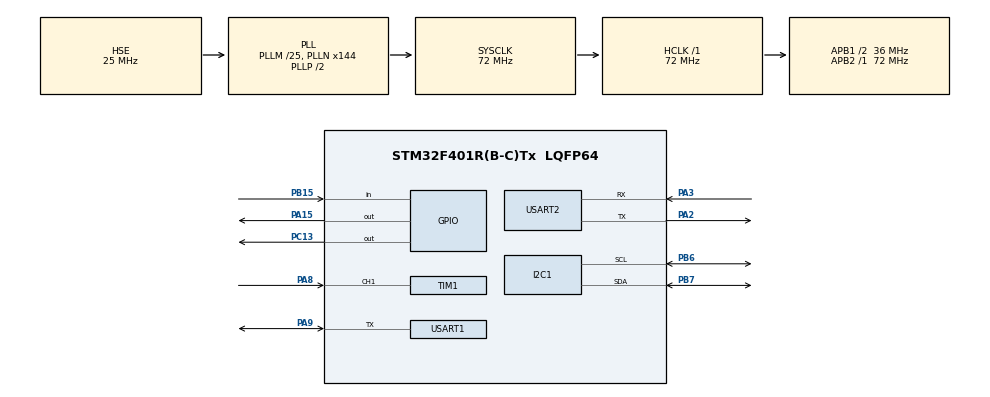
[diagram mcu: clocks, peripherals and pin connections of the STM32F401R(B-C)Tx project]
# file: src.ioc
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Dma.Request0=USART1_RX
Dma.Request1=USART1_TX
Dma.USART1_RX.0.Direction=DMA_PERIPH_TO_MEMORY
Dma.USART1_RX.0.FIFOMode=DMA_FIFOMODE_DISABLE
Dma.USART1_RX.0.Instance=DMA2_Stream2
Dma.USART1_RX.0.MemDataAlignment=DMA_MDATAALIGN_BYTE
Dma.USART1_RX.0.MemInc=DMA_MINC_ENABLE
Dma.USART1_RX.0.Mode=DMA_NORMAL
Dma.USART1_RX.0.PeriphDataAlignment=DMA_PDATAALIGN_BYTE
Dma.USART1_RX.0.PeriphInc=DMA_PINC_DISABLE
Dma.USART1_RX.0.Priority=DMA_PRIORITY_LOW
Dma.USART1_TX.1.Direction=DMA_MEMORY_TO_PERIPH
Dma.USART1_TX.1.FIFOMode=DMA_FIFOMODE_DISABLE
Dma.USART1_TX.1.Instance=DMA2_Stream7
Dma.USART1_TX.1.MemDataAlignment=DMA_MDATAALIGN_BYTE
Dma.USART1_TX.1.MemInc=DMA_MINC_ENABLE
Dma.USART1_TX.1.Mode=DMA_NORMAL
Dma.USART1_TX.1.PeriphDataAlignment=DMA_PDATAALIGN_BYTE
Dma.USART1_TX.1.PeriphInc=DMA_PINC_DISABLE
Dma.USART1_TX.1.Priority=DMA_PRIORITY_LOW
FREERTOS.Tasks01=defaultTask,0,128,StartDefaultTask,Default,NULL,Dynamic,NULL,NULL;TEMP,-3,128,TEMP_init,Default,NULL,Dynamic,NULL,NULL;DIST,0,128,DIST_init,Default,NULL,Dynamic,NULL,NULL;COMM,0,128,COMM_init,Default,NULL,Dynamic,NULL,NULL
FREERTOS.configUSE_NEWLIB_REENTRANT=1
Mcu.Family=STM32F4
Mcu.Name=STM32F401R(B-C)Tx
Mcu.Package=LQFP64
NVIC.DMA2_Stream2_IRQn=true\:5\:0\:false\:false\:true\:true\:false\:true\:true
NVIC.DMA2_Stream7_IRQn=true\:5\:0\:false\:false\:true\:true\:false\:true\:true
NVIC.PriorityGroup=NVIC_PRIORITYGROUP_4
NVIC.TIM1_CC_IRQn=true\:5\:0\:false\:false\:true\:true\:true\:true\:true
NVIC.TIM2_IRQn=true\:15\:0\:false\:false\:true\:false\:false\:true\:true
NVIC.TimeBase=TIM2_IRQn
NVIC.TimeBaseIP=TIM2
NVIC.USART1_IRQn=true\:5\:0\:false\:false\:true\:true\:true\:true\:true
PA15.Signal=GPIO_Output
PA2.Mode=Asynchronous
PA2.Signal=USART2_TX
PA3.Mode=Asynchronous
PA3.Signal=USART2_RX
PA8.Signal=S_TIM1_CH1
PA9.Mode=Half_duplex(single_wire_mode)
PA9.Signal=USART1_TX
PB15.Signal=GPIO_Input
PB6.Mode=I2C
PB6.Signal=I2C1_SCL
PB7.Mode=I2C
PB7.Signal=I2C1_SDA
PC13-ANTI_TAMP.Signal=GPIO_Output
PH0\ -\ OSC_IN.Mode=HSE-External-Oscillator
PH0\ -\ OSC_IN.Signal=RCC_OSC_IN
PH1\ -\ OSC_OUT.Mode=HSE-External-Oscillator
PH1\ -\ OSC_OUT.Signal=RCC_OSC_OUT
ProjectManager.HeapSize=0x200
ProjectManager.StackSize=0x400
ProjectManager.TargetToolchain=STM32CubeIDE
RCC.48MHZClocksFreq_Value=36000000
RCC.AHBFreq_Value=72000000
RCC.APB1CLKDivider=RCC_HCLK_DIV2
RCC.APB1Freq_Value=36000000
RCC.APB1TimFreq_Value=72000000
RCC.APB2Freq_Value=72000000
RCC.APB2TimFreq_Value=72000000
RCC.CortexFreq_Value=72000000
RCC.HCLKFreq_Value=72000000
RCC.HSE_VALUE=25000000
RCC.HSI_VALUE=16000000
RCC.LSE_VALUE=32768
RCC.PLLM=25
RCC.PLLN=144
RCC.PLLSourceVirtual=RCC_PLLSOURCE_HSE
RCC.SYSCLKFreq_VALUE=72000000
RCC.SYSCLKSource=RCC_SYSCLKSOURCE_PLLCLK
RCC.VCOOutputFreq_Value=144000000
SH.S_TIM1_CH1.0=TIM1_CH1,Input_Capture1_from_TI1
TIM1.Channel-Input_Capture1_from_TI1=TIM_CHANNEL_1
TIM1.Prescaler=72-1
USART1.BaudRate=9600
USART1.VirtualMode=VM_ASYNC
USART2.VirtualMode=VM_ASYNC
VP_FREERTOS_VS_CMSIS_V1.Mode=CMSIS_V1
VP_SYS_VS_tim2.Mode=TIM2
board=custom

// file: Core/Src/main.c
/* USER CODE BEGIN Header */
/**
  ******************************************************************************
  * @file           : main.c
  * @brief          : Main program body
  ******************************************************************************
  * @attention
  *
  * Copyright (c) 2024 STMicroelectronics.
  * All rights reserved.
  *
  * This software is licensed under terms that can be found in the LICENSE file
  * in the root directory of this software component.
  * If no LICENSE file comes with this software, it is provided AS-IS.
  *
  ******************************************************************************
  */
/* USER CODE END Header */
#include "main.h"
#include "cmsis_os.h"

/* USER CODE BEGIN Includes */
#include "stm32f4xx_ll_usart.h"
#include "i2c-lcd.h"
/* USER CODE END Includes */

/* USER CODE BEGIN PM */
volatile float DS18B20_Temp;
int receivedValue;
/* USER CODE END PM */

I2C_HandleTypeDef hi2c1;

TIM_HandleTypeDef htim1;

UART_HandleTypeDef huart1;
UART_HandleTypeDef huart2;
DMA_HandleTypeDef hdma_usart1_rx;
DMA_HandleTypeDef hdma_usart1_tx;

osThreadId defaultTaskHandle;
osThreadId TEMPHandle;
osThreadId DISTHandle;
osThreadId COMMHandle;

void SystemClock_Config(void);
static void MX_GPIO_Init(void);
static void MX_DMA_Init(void);
static void MX_USART1_UART_Init(void);
static void MX_USART2_UART_Init(void);
static void MX_TIM1_Init(void);
static void MX_I2C1_Init(void);
void StartDefaultTask(void const * argument);
void TEMP_init(void const * argument);
void DIST_init(void const * argument);
void COMM_init(void const * argument);

/* USER CODE BEGIN PFP */
static uint8_t DS18B20_Init(void);
static uint8_t DS18B20_ReadBit(void);
static uint8_t DS18B20_ReadByte(void);
static void DS18B20_WriteByte(uint8_t);
void DS18B20_SampleTemp(void);
float DS18B20_ReadTemp(void);
/* USER CODE END PFP */

/* USER CODE BEGIN 0 */

void delay(uint16_t time)
{
  __HAL_TIM_SET_COUNTER(&htim1, 0);
  while (__HAL_TIM_GET_COUNTER(&htim1) < time)
    ;
}

uint32_t IC_Val1 = 0;
uint32_t IC_Val2 = 0;
uint32_t Difference = 0;
uint8_t Is_First_Captured = 0; // is the first value captured ?
uint8_t Distance = 0;

#define TRIG_PIN GPIO_PIN_15
#define TRIG_PORT GPIOB

// Let's write the callback function

void HAL_TIM_IC_CaptureCallback(TIM_HandleTypeDef *htim)
{
  if (htim->Channel == HAL_TIM_ACTIVE_CHANNEL_1) // if the interrupt source is channel1
  {
    if (Is_First_Captured == 0) // if the first value is not captured
    {
      IC_Val1 = HAL_TIM_ReadCapturedValue(htim, TIM_CHANNEL_1); // read the first value
      Is_First_Captured = 1;                                    // set the first captured as true
      // Now change the polarity to falling edge
      __HAL_TIM_SET_CAPTUREPOLARITY(htim, TIM_CHANNEL_1, TIM_INPUTCHANNELPOLARITY_FALLING);
    }

    else if (Is_First_Captured == 1) // if the first is already captured
    {
      IC_Val2 = HAL_TIM_ReadCapturedValue(htim, TIM_CHANNEL_1); // read second value
      __HAL_TIM_SET_COUNTER(htim, 0);                           // reset the counter

      if (IC_Val2 > IC_Val1)
      {
        Difference = IC_Val2 - IC_Val1;
      }

      else if (IC_Val1 > IC_Val2)
      {
        Difference = (0xffff - IC_Val1) + IC_Val2;
      }

      Distance = Difference * .034 / 2;
      Is_First_Captured = 0; // set it back to false

      // set polarity to rising edge
      __HAL_TIM_SET_CAPTUREPOLARITY(htim, TIM_CHANNEL_1, TIM_INPUTCHANNELPOLARITY_RISING);
      __HAL_TIM_DISABLE_IT(&htim1, TIM_IT_CC1);
    }
  }
}

void HCSR04_Read(void)
{
  HAL_GPIO_WritePin(TRIG_PORT, TRIG_PIN, GPIO_PIN_SET);   // pull the TRIG pin HIGH
  delay(10);                                              // wait for 10 us
  HAL_GPIO_WritePin(TRIG_PORT, TRIG_PIN, GPIO_PIN_RESET); // pull the TRIG pin low

  __HAL_TIM_ENABLE_IT(&htim1, TIM_IT_CC1);
}

/* USER CODE END 0 */

int main(void)
{

  /* MCU Configuration--------------------------------------------------------*/

  /* Reset of all peripherals, Initializes the Flash interface and the Systick. */
  HAL_Init();

  /* Configure the system clock */
  SystemClock_Config();

  /* Initialize all configured peripherals */
  MX_GPIO_Init();
  MX_DMA_Init();
  MX_USART1_UART_Init();
  MX_USART2_UART_Init();
  MX_TIM1_Init();
  MX_I2C1_Init();
  /* USER CODE BEGIN 2 */
  HAL_TIM_IC_Start_IT(&htim1, TIM_CHANNEL_1);

  /* USER CODE END 2 */

  /* Create the thread(s) */
  /* definition and creation of defaultTask */
  osThreadDef(defaultTask, StartDefaultTask, osPriorityNormal, 0, 128);
  defaultTaskHandle = osThreadCreate(osThread(defaultTask), NULL);

  /* definition and creation of TEMP */
  osThreadDef(TEMP, TEMP_init, osPriorityIdle, 0, 128);
  TEMPHandle = osThreadCreate(osThread(TEMP), NULL);

  /* definition and creation of DIST */
  osThreadDef(DIST, DIST_init, osPriorityNormal, 0, 128);
  DISTHandle = osThreadCreate(osThread(DIST), NULL);

  /* definition and creation of COMM */
  osThreadDef(COMM, COMM_init, osPriorityNormal, 0, 128);
  COMMHandle = osThreadCreate(osThread(COMM), NULL);

  /* Start scheduler */
  osKernelStart();

  /* We should never get here as control is now taken by the scheduler */

  /* Infinite loop */
  while (1)
  {

  }
}

void SystemClock_Config(void)
{
  RCC_OscInitTypeDef RCC_OscInitStruct = {0};
  RCC_ClkInitTypeDef RCC_ClkInitStruct = {0};

  /** Configure the main internal regulator output voltage
  */
  __HAL_RCC_PWR_CLK_ENABLE();
  __HAL_PWR_VOLTAGESCALING_CONFIG(PWR_REGULATOR_VOLTAGE_SCALE2);

  /** Initializes the RCC Oscillators according to the specified parameters
  * in the RCC_OscInitTypeDef structure.
  */
  RCC_OscInitStruct.OscillatorType = RCC_OSCILLATORTYPE_HSE;
  RCC_OscInitStruct.HSEState = RCC_HSE_ON;
  RCC_OscInitStruct.PLL.PLLState = RCC_PLL_ON;
  RCC_OscInitStruct.PLL.PLLSource = RCC_PLLSOURCE_HSE;
  RCC_OscInitStruct.PLL.PLLM = 25;
  RCC_OscInitStruct.PLL.PLLN = 144;
  RCC_OscInitStruct.PLL.PLLP = RCC_PLLP_DIV2;
  RCC_OscInitStruct.PLL.PLLQ = 4;
  if (HAL_RCC_OscConfig(&RCC_OscInitStruct) != HAL_OK)
  {
    Error_Handler();
  }

  /** Initializes the CPU, AHB and APB buses clocks
  */
  RCC_ClkInitStruct.ClockType = RCC_CLOCKTYPE_HCLK|RCC_CLOCKTYPE_SYSCLK
                              |RCC_CLOCKTYPE_PCLK1|RCC_CLOCKTYPE_PCLK2;
  RCC_ClkInitStruct.SYSCLKSource = RCC_SYSCLKSOURCE_PLLCLK;
  RCC_ClkInitStruct.AHBCLKDivider = RCC_SYSCLK_DIV1;
  RCC_ClkInitStruct.APB1CLKDivider = RCC_HCLK_DIV2;
  RCC_ClkInitStruct.APB2CLKDivider = RCC_HCLK_DIV1;

  if (HAL_RCC_ClockConfig(&RCC_ClkInitStruct, FLASH_LATENCY_2) != HAL_OK)
  {
    Error_Handler();
  }
}

static void MX_I2C1_Init(void)
{

  hi2c1.Instance = I2C1;
  hi2c1.Init.ClockSpeed = 100000;
  hi2c1.Init.DutyCycle = I2C_DUTYCYCLE_2;
  hi2c1.Init.OwnAddress1 = 0;
  hi2c1.Init.AddressingMode = I2C_ADDRESSINGMODE_7BIT;
  hi2c1.Init.DualAddressMode = I2C_DUALADDRESS_DISABLE;
  hi2c1.Init.OwnAddress2 = 0;
  hi2c1.Init.GeneralCallMode = I2C_GENERALCALL_DISABLE;
  hi2c1.Init.NoStretchMode = I2C_NOSTRETCH_DISABLE;
  if (HAL_I2C_Init(&hi2c1) != HAL_OK)
  {
    Error_Handler();
  }

}

static void MX_TIM1_Init(void)
{

  TIM_MasterConfigTypeDef sMasterConfig = {0};
  TIM_IC_InitTypeDef sConfigIC = {0};

  htim1.Instance = TIM1;
  htim1.Init.Prescaler = 72-1;
  htim1.Init.CounterMode = TIM_COUNTERMODE_UP;
  htim1.Init.Period = 65535;
  htim1.Init.ClockDivision = TIM_CLOCKDIVISION_DIV1;
  htim1.Init.RepetitionCounter = 0;
  htim1.Init.AutoReloadPreload = TIM_AUTORELOAD_PRELOAD_DISABLE;
  if (HAL_TIM_IC_Init(&htim1) != HAL_OK)
  {
    Error_Handler();
  }
  sMasterConfig.MasterOutputTrigger = TIM_TRGO_RESET;
  sMasterConfig.MasterSlaveMode = TIM_MASTERSLAVEMODE_DISABLE;
  if (HAL_TIMEx_MasterConfigSynchronization(&htim1, &sMasterConfig) != HAL_OK)
  {
    Error_Handler();
  }
  sConfigIC.ICPolarity = TIM_INPUTCHANNELPOLARITY_RISING;
  sConfigIC.ICSelection = TIM_ICSELECTION_DIRECTTI;
  sConfigIC.ICPrescaler = TIM_ICPSC_DIV1;
  sConfigIC.ICFilter = 0;
  if (HAL_TIM_IC_ConfigChannel(&htim1, &sConfigIC, TIM_CHANNEL_1) != HAL_OK)
  {
    Error_Handler();
  }

}

static void MX_USART1_UART_Init(void)
{

  huart1.Instance = USART1;
  huart1.Init.BaudRate = 9600;
  huart1.Init.WordLength = UART_WORDLENGTH_8B;
  huart1.Init.StopBits = UART_STOPBITS_1;
  huart1.Init.Parity = UART_PARITY_NONE;
  huart1.Init.Mode = UART_MODE_TX_RX;
  huart1.Init.HwFlowCtl = UART_HWCONTROL_NONE;
  huart1.Init.OverSampling = UART_OVERSAMPLING_16;
  if (HAL_HalfDuplex_Init(&huart1) != HAL_OK)
  {
    Error_Handler();
  }

}

static void MX_USART2_UART_Init(void)
{

  huart2.Instance = USART2;
  huart2.Init.BaudRate = 115200;
  huart2.Init.WordLength = UART_WORDLENGTH_8B;
  huart2.Init.StopBits = UART_STOPBITS_1;
  huart2.Init.Parity = UART_PARITY_NONE;
  huart2.Init.Mode = UART_MODE_TX_RX;
  huart2.Init.HwFlowCtl = UART_HWCONTROL_NONE;
  huart2.Init.OverSampling = UART_OVERSAMPLING_16;
  if (HAL_UART_Init(&huart2) != HAL_OK)
  {
    Error_Handler();
  }

}

static void MX_DMA_Init(void)
{

  /* DMA controller clock enable */
  __HAL_RCC_DMA2_CLK_ENABLE();

  /* DMA interrupt init */
  /* DMA2_Stream2_IRQn interrupt configuration */
  HAL_NVIC_SetPriority(DMA2_Stream2_IRQn, 5, 0);
  HAL_NVIC_EnableIRQ(DMA2_Stream2_IRQn);
  /* DMA2_Stream7_IRQn interrupt configuration */
  HAL_NVIC_SetPriority(DMA2_Stream7_IRQn, 5, 0);
  HAL_NVIC_EnableIRQ(DMA2_Stream7_IRQn);

}

static void MX_GPIO_Init(void)
{
  GPIO_InitTypeDef GPIO_InitStruct = {0};

  /* GPIO Ports Clock Enable */
  __HAL_RCC_GPIOC_CLK_ENABLE();
  __HAL_RCC_GPIOH_CLK_ENABLE();
  __HAL_RCC_GPIOA_CLK_ENABLE();
  __HAL_RCC_GPIOB_CLK_ENABLE();

  /*Configure GPIO pin Output Level */
  HAL_GPIO_WritePin(GPIOC, GPIO_PIN_13, GPIO_PIN_RESET);

  /*Configure GPIO pin Output Level */
  HAL_GPIO_WritePin(GPIOA, GPIO_PIN_15, GPIO_PIN_RESET);

  /*Configure GPIO pin : PC13 */
  GPIO_InitStruct.Pin = GPIO_PIN_13;
  GPIO_InitStruct.Mode = GPIO_MODE_OUTPUT_PP;
  GPIO_InitStruct.Pull = GPIO_NOPULL;
  GPIO_InitStruct.Speed = GPIO_SPEED_FREQ_LOW;
  HAL_GPIO_Init(GPIOC, &GPIO_InitStruct);

  /*Configure GPIO pin : PB15 */
  GPIO_InitStruct.Pin = GPIO_PIN_15;
  GPIO_InitStruct.Mode = GPIO_MODE_INPUT;
  GPIO_InitStruct.Pull = GPIO_NOPULL;
  HAL_GPIO_Init(GPIOB, &GPIO_InitStruct);

  /*Configure GPIO pin : PA15 */
  GPIO_InitStruct.Pin = GPIO_PIN_15;
  GPIO_InitStruct.Mode = GPIO_MODE_OUTPUT_PP;
  GPIO_InitStruct.Pull = GPIO_NOPULL;
  GPIO_InitStruct.Speed = GPIO_SPEED_FREQ_LOW;
  HAL_GPIO_Init(GPIOA, &GPIO_InitStruct);

}

/* USER CODE BEGIN 4 */
static uint8_t DS18B20_Init(void)
{
  uint8_t ResetByte = 0xF0, PresenceByte;
  LL_USART_SetBaudRate(huart1.Instance, HAL_RCC_GetPCLK2Freq(), 16, 9600);
  // Send reset pulse (0xF0)
  HAL_UART_Transmit(&huart1, &ResetByte, 1, 1);
  // Wait for the presence pulse
  HAL_UART_Receive(&huart1, &PresenceByte, 1, 1);
  LL_USART_SetBaudRate(huart1.Instance, HAL_RCC_GetPCLK2Freq(), 16, 115200);
  // Check presence pulse
  if (PresenceByte != ResetByte)
  {
    return 1; // Presence pulse detected
  }
  else
  {
    return 0; // No presence pulse detected
  }
}

static uint8_t DS18B20_ReadBit(void)
{
  uint8_t ReadBitCMD = 0xFF;
  uint8_t RxBit;

  // Send Read Bit CMD
  HAL_UART_Transmit(&huart1, &ReadBitCMD, 1, 1);
  // Receive The Bit
  HAL_UART_Receive(&huart1, &RxBit, 1, 1);

  return (RxBit & 0x01);
}

static uint8_t DS18B20_ReadByte(void)
{
  uint8_t RxByte = 0;
  for (uint8_t i = 0; i < 8; i++)
  {
    RxByte >>= 1;
    if (DS18B20_ReadBit())
    {
      RxByte |= 0x80;
    }
  }
  return RxByte;
}

static void DS18B20_WriteByte(uint8_t data)
{
  uint8_t TxBuffer[8];
  for (int i = 0; i < 8; i++)
  {
    if ((data & (1 << i)) != 0)
    {
      TxBuffer[i] = 0xFF;
    }
    else
    {
      TxBuffer[i] = 0;
    }
  }
  HAL_UART_Transmit(&huart1, TxBuffer, 8, 10);
}

void DS18B20_SampleTemp(void)
{
  DS18B20_Init();
  DS18B20_WriteByte(0xCC); // Skip ROM   (ROM-CMD)
  DS18B20_WriteByte(0x44); // Convert T  (F-CMD)
}

float DS18B20_ReadTemp(void)
{
  uint8_t Temp_LSB, Temp_MSB;
  uint16_t Temp;
  float Temperature;

  DS18B20_Init();
  DS18B20_WriteByte(0xCC); // Skip ROM         (ROM-CMD)
  DS18B20_WriteByte(0xBE); // Read Scratchpad  (F-CMD)
  Temp_LSB = DS18B20_ReadByte();
  Temp_MSB = DS18B20_ReadByte();
  // Temp_LSB+=48;
  // Temp_MSB+=48;
  Temp = ((Temp_MSB << 8)) | Temp_LSB;
  Temperature = (float)Temp / 16.0;

  return Temperature;
}
/* USER CODE END 4 */

void StartDefaultTask(void const * argument)
{
  for(;;)
  {
    osDelay(1);
  }
}

void TEMP_init(void const * argument)
{
  /* USER CODE BEGIN TEMP_init */
  /* Infinite loop */
  for(;;)
  {
	  DS18B20_SampleTemp();                   // Start temperature conversion
	  DS18B20_Temp = DS18B20_ReadTemp();      // Read the converted temperature value
	  osDelay(1000);
  }
  /* USER CODE END TEMP_init */
}

void DIST_init(void const * argument)
{
  /* USER CODE BEGIN DIST_init */
  /* Infinite loop */
  for(;;)
  {
	    HAL_GPIO_TogglePin(GPIOC, GPIO_PIN_13); // Toggle GPIO pin for indication
	    HCSR04_Read(); // Trigger the ultrasonic sensor to read distance

	    osDelay(250);
  }
  /* USER CODE END DIST_init */
}

void COMM_init(void const * argument)
{
  /* USER CODE BEGIN COMM_init */
  /* Infinite loop */
  for(;;)
  {	      uint8_t buffer[2]; // Buffer to store the received ASCII data

	  if (DS18B20_Temp != -1) // Assuming -1 indicates an invalid reading
	      {
	        // Convert the temperature to an integer and separate digits
	        int displayTemp = (int)DS18B20_Temp;             // Convert temperature to integer
	        char onesTemp = (displayTemp % 10) + '0';        // Extract ones digit as ASCII
	        char tensTemp = ((displayTemp / 10) % 10) + '0'; // Extract tens digit as ASCII

	        // Transmit the temperature data via UART
	        HAL_UART_Transmit(&huart2, (uint8_t *)"Temperature = ", 16, 100);
	        HAL_UART_Transmit(&huart2, (uint8_t *)&tensTemp, 1, 1000); // Transmit tens digit
	        HAL_UART_Transmit(&huart2, (uint8_t *)&onesTemp, 1, 1000); // Transmit ones digit
	        HAL_UART_Transmit(&huart2, (uint8_t *)"\t", 2, 1000);    // Transmit newline
	        HAL_UART_Transmit(&huart2, (uint8_t *)"Received Value = ", 17, HAL_MAX_DELAY);
	        HAL_UART_Transmit(&huart2, (uint8_t *)&buffer[0], 1, 1000); // Transmit tens digit
	        HAL_UART_Transmit(&huart2, (uint8_t *)&buffer[1], 1, 1000); // Transmit ones digit
	        HAL_UART_Transmit(&huart2, (uint8_t *)"\r\n", 2, HAL_MAX_DELAY); // Transmit newline

	      }
	      else
	      {
	        HAL_UART_Transmit(&huart2, (uint8_t *)"Invalid Temperature\r\n", 22, 1000);
	      }
	      // Convert distance to integer and separate digits
	      int onesDist = (Distance % 10) + 48;        // Extract ones digit as ASCII
	      int tensDist = ((Distance / 10) % 10) + 48; // Extract tens digit as ASCII
	      int hundredsDist = (Distance / 100) + 48;   // Extract hundreds digit as ASCII

	      // Transmit the distance data via UART
	      HAL_UART_Transmit(&huart2, (uint8_t *)"Distance = ", 12, 100);
	      HAL_UART_Transmit(&huart2, (uint8_t *)&hundredsDist, 1, 100); // Transmit hundreds digit
	      HAL_UART_Transmit(&huart2, (uint8_t *)&tensDist, 1, 100);     // Transmit tens digit
	      HAL_UART_Transmit(&huart2, (uint8_t *)&onesDist, 1, 100);     // Transmit ones digit
	      HAL_UART_Transmit(&huart2, (uint8_t *)"\r\n", 2, 100);        // Transmit newline
	      if (HAL_UART_Receive(&huart2, buffer, 2, 100) == HAL_OK) {
		       receivedValue = (buffer[0] - '0') * 10 + (buffer[1] - '0');
	      } else {
	          // Handle timeout or error
	    	  receivedValue=0;
	    	    HAL_UART_Transmit(&huart2, (uint8_t *)"Error in receiving data\r\n", 25, 100);

	      }
	      // Convert ASCII bytes to an integer
    osDelay(500);
  }
  /* USER CODE END COMM_init */
}

void HAL_TIM_PeriodElapsedCallback(TIM_HandleTypeDef *htim)
{
  if (htim->Instance == TIM2) {
    HAL_IncTick();
  }
}

void Error_Handler(void)
{
  __disable_irq();
  while (1)
  {
  }
}
